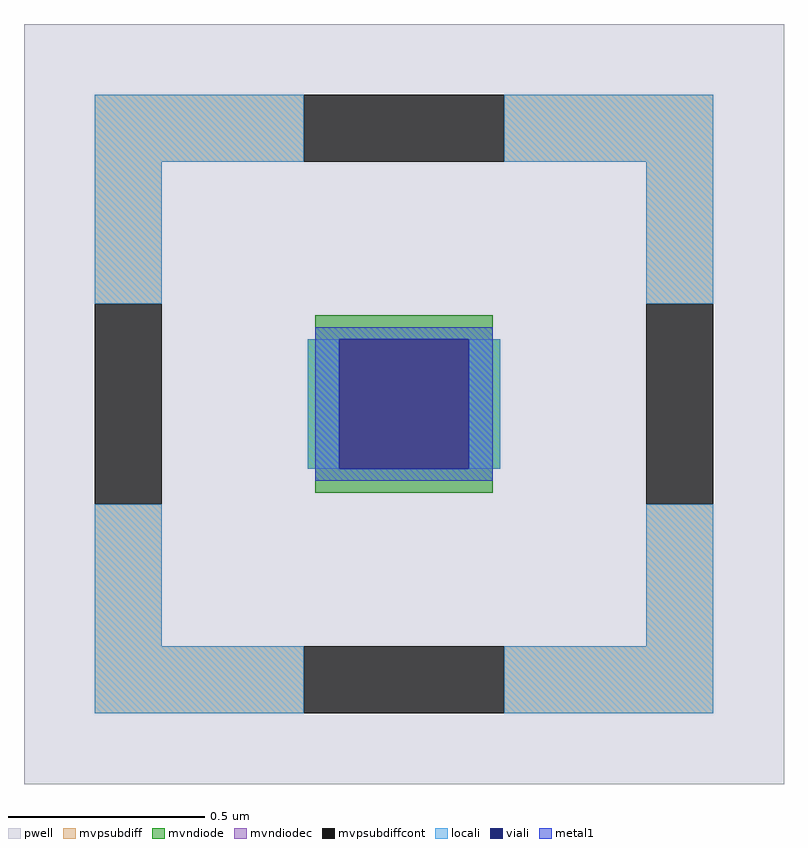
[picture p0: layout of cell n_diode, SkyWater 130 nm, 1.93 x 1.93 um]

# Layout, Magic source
magic
tech sky130A
magscale 1 2
<< pwell >>
rect -193 -193 193 193
<< mvpsubdiff >>
rect -157 123 -51 157
rect 51 123 157 157
rect -157 51 -123 123
rect 123 51 157 123
rect -157 -123 -123 -51
rect 123 -123 157 -51
rect -157 -157 -51 -123
rect 51 -157 157 -123
<< mvpsubdiffcont >>
rect -51 123 51 157
rect -157 -51 -123 51
rect 123 -51 157 51
rect -51 -157 51 -123
<< mvndiode >>
rect -45 33 45 45
rect -49 -33 -33 33
rect 33 -33 49 33
rect -45 -45 45 -33
<< mvndiodec >>
rect -33 -33 33 33
<< locali >>
rect -157 123 -51 157
rect 51 123 157 157
rect -157 51 -123 123
rect 123 51 157 123
rect -49 -33 -33 33
rect 33 -33 49 33
rect -157 -123 -123 -51
rect 123 -123 157 -51
rect -157 -157 -51 -123
rect 51 -157 157 -123
<< viali >>
rect -33 -33 33 33
<< metal1 >>
rect -45 33 45 39
rect -45 -33 -33 33
rect 33 -33 45 33
rect -45 -39 45 -33
<< properties >>
string FIXED_BBOX -130 -130 130 130
string gencell sky130_fd_pr__diode_pw2nd_05v5
string library sky130
string parameters w 0.45 l 0.45 area 202.5m peri 1.8 nx 1 ny 1 dummy 0 lmin 0.45 wmin 0.45 elc 1 erc 1 etc 1 ebc 1 doverlap 0 compatible {sky130_fd_pr__diode_pw2nd_05v5 sky130_fd_pr__diode_pw2nd_05v5_lvt  sky130_fd_pr__diode_pw2nd_05v5_nvt sky130_fd_pr__diode_pw2nd_11v0} full_metal 1 vias 1 viagb 0 viagt 0 viagl 0 viagr 0
<< end >>
